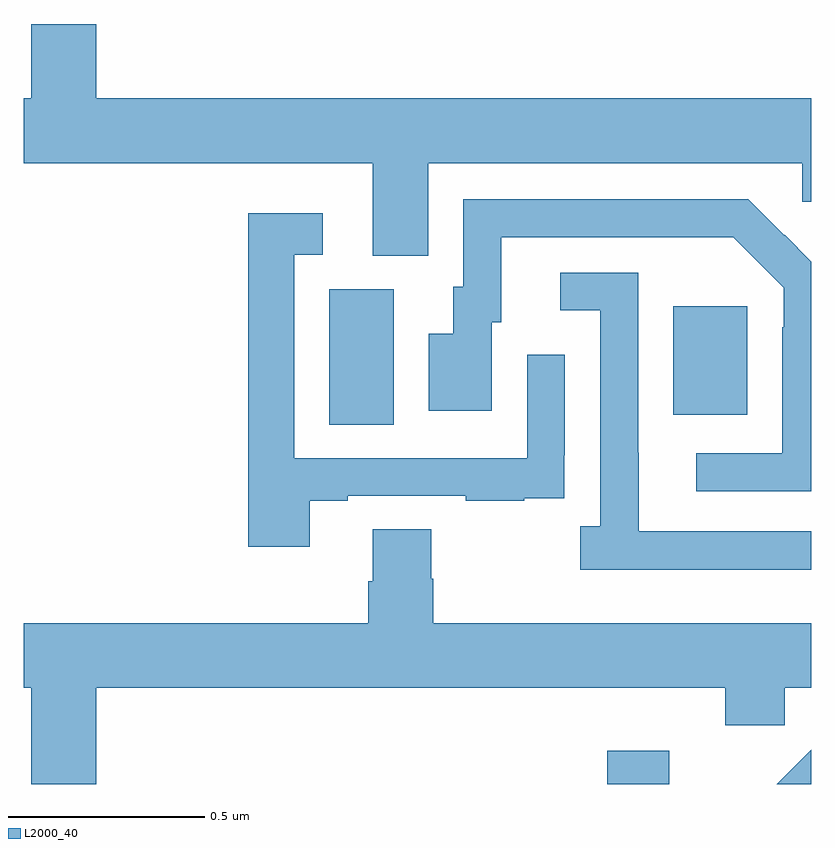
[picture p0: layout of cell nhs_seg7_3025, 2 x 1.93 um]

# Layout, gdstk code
import gdstk
lib = gdstk.Library(unit=1e-6, precision=1e-09)
def R(c, l, rs):  # rectangles x0, y0, x1, y1
    for r in rs: c.add(gdstk.rectangle(r[:2], r[2:], *l))
def P(c, l, *ps):  # polygons
    for p in ps: c.add(gdstk.Polygon(p, *l))
L2000_40 = (2000, 40)

nhs_seg7_3025 = lib.new_cell('nhs_seg7_3025')
R(nhs_seg7_3025, L2000_40, [(154.482,1039,154.639,1039.084), (153.776,1039.912,153.94,1040.256), (154.649,1039.937,154.837,1040.212)])
P(nhs_seg7_3025, L2000_40, [(154.027,1040.576),(154.977,1040.576),(154.977,1040.478),(155,1040.478),(155,1040.74),(153.184,1040.74),(153.184,1040.929),(153.02,1040.929),(153.02,1040.74),(153,1040.74),(153,1040.576),(153.887,1040.576),(153.887,1040.341),(154.027,1040.341)],
  [(155,1040.326),(154.932,1040.394),(154.931,1040.393),(154.84,1040.484),(154.116,1040.484),(154.116,1040.262),(154.091,1040.262),(154.091,1040.143),(154.028,1040.143),(154.028,1039.947),(154.189,1039.947),(154.189,1040.172),(154.213,1040.172),(154.213,1040.388),(154.801,1040.388),(154.929,1040.259),(154.929,1040.159),(154.926,1040.159),(154.926,1039.839),(154.707,1039.839),(154.707,1039.743),(155,1039.743)],
  [(153.727,1039.719),(153.823,1039.719),(153.823,1039.731),(154.123,1039.731),(154.123,1039.719),(154.271,1039.719),(154.271,1039.725),(154.373,1039.725),(154.373,1039.834),(154.374,1039.834),(154.374,1040.089),(154.278,1040.089),(154.278,1039.827),(153.687,1039.827),(153.687,1040.343),(153.76,1040.343),(153.76,1040.449),(153.571,1040.449),(153.571,1039.602),(153.727,1039.602)],
  [(155,1039.641),(154.561,1039.641),(154.561,1039.841),(154.56,1039.841),(154.56,1040.298),(154.362,1040.298),(154.362,1040.202),(154.464,1040.202),(154.464,1039.654),(154.413,1039.654),(154.413,1039.544),(155,1039.544)],
  [(153.184,1039.244),(154.781,1039.244),(154.781,1039.149),(154.932,1039.149),(154.932,1039.244),(155,1039.244),(155,1039.408),(154.04,1039.408),(154.04,1039.521),(154.035,1039.521),(154.035,1039.646),(153.887,1039.646),(153.887,1039.514),(153.875,1039.514),(153.875,1039.408),(153,1039.408),(153,1039.244),(153.02,1039.244),(153.02,1039),(153.184,1039)],
  [(155,1039.087),(154.982,1039.069),(154.912,1039),(155,1039)])

lib.write_gds('nhs_seg7_3025.gds')
